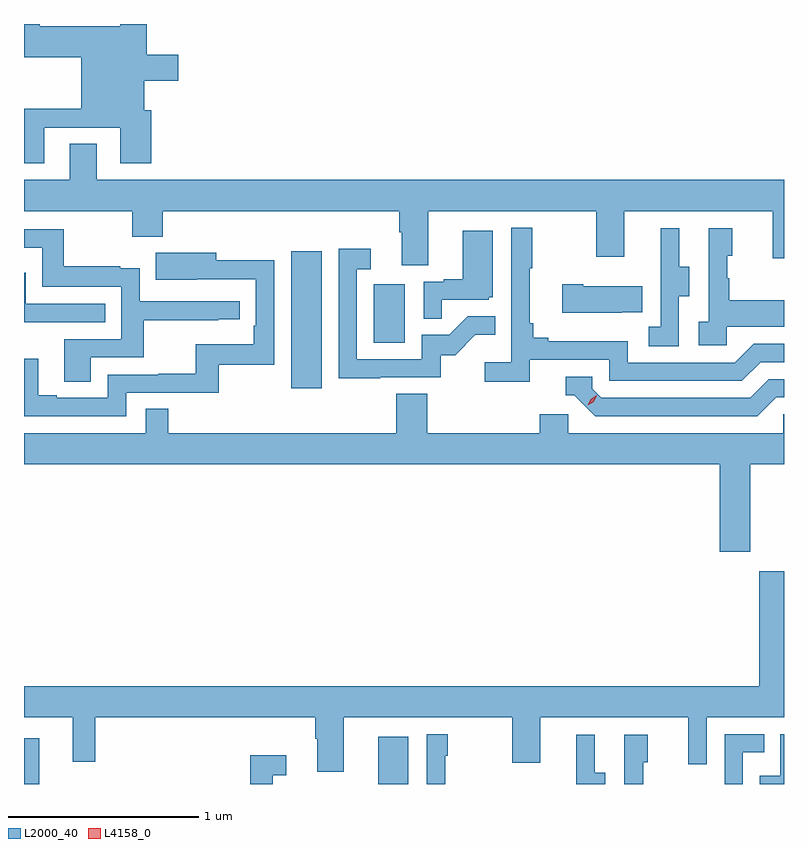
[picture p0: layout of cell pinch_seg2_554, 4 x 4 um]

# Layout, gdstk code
import gdstk
lib = gdstk.Library(unit=1e-6, precision=1e-09)
def R(c, l, rs):  # rectangles x0, y0, x1, y1
    for r in rs: c.add(gdstk.rectangle(r[:2], r[2:], *l))
def P(c, l, *ps):  # polygons
    for p in ps: c.add(gdstk.Polygon(p, *l))
L2000_40 = (2000, 40)
L4158_0 = (4158, 0)

pinch_seg2_554 = lib.new_cell('pinch_seg2_554')
R(pinch_seg2_554, L2000_40, [(1107.201,608.657,1107.28,608.899), (1109.066,608.657,1109.224,608.905), (1108.607,610.74,1108.768,611.461), (1109.042,610.98,1109.206,611.287)])
P(pinch_seg2_554, L2000_40, [(1107.307,612.111),(1107.707,612.111),(1107.707,611.925),(1107.872,611.925),(1107.872,612.204),(1107.835,612.204),(1107.835,612.359),(1108.012,612.359),(1108.012,612.494),(1107.848,612.494),(1107.848,612.657),(1107.707,612.657),(1107.707,612.646),(1107.283,612.646),(1107.283,612.657),(1107.201,612.657),(1107.201,612.482),(1107.503,612.482),(1107.503,612.212),(1107.201,612.212),(1107.201,611.925),(1107.307,611.925)],
  [(1107.443,612.026),(1107.443,611.836),(1107.201,611.836),(1107.201,611.672),(1107.772,611.672),(1107.772,611.537),(1107.932,611.537),(1107.932,611.672),(1109.177,611.672),(1109.177,611.56),(1109.189,611.56),(1109.189,611.386),(1109.329,611.386),(1109.329,611.672),(1110.214,611.672),(1110.214,611.433),(1110.361,611.433),(1110.361,611.672),(1111.142,611.672),(1111.142,611.424),(1111.201,611.424),(1111.201,611.836),(1107.583,611.836),(1107.583,612.026)],
  [(1109.864,610.89),(1110.282,610.89),(1110.282,610.779),(1110.979,610.779),(1111.078,610.878),(1111.201,610.878),(1111.201,610.974),(1111.041,610.974),(1110.942,610.875),(1110.378,610.875),(1110.378,610.987),(1109.959,610.987),(1109.959,611.006),(1109.882,611.006),(1109.882,611.083),(1109.863,611.083),(1109.863,611.371),(1109.875,611.371),(1109.875,611.584),(1109.766,611.584),(1109.766,610.876),(1109.625,610.876),(1109.625,610.774),(1109.864,610.774)],
  [(1110.9,611.063),(1111.201,611.063),(1111.201,611.203),(1110.913,611.203),(1110.913,611.318),(1110.903,611.318),(1110.903,611.436),(1110.928,611.436),(1110.928,611.581),(1110.804,611.581),(1110.804,611.09),(1110.753,611.09),(1110.753,610.965),(1110.9,610.965)],
  [(1110.648,611.224),(1110.703,611.224),(1110.703,611.379),(1110.649,611.379),(1110.649,611.581),(1110.551,611.581),(1110.551,611.367),(1110.552,611.367),(1110.552,611.063),(1110.489,611.063),(1110.489,610.96),(1110.648,610.96)],
  [(1107.553,610.902),(1107.83,610.902),(1107.83,611.098),(1108.223,611.098),(1108.223,611.103),(1108.336,611.103),(1108.336,611.199),(1107.81,611.199),(1107.81,611.371),(1107.707,611.371),(1107.707,611.383),(1107.409,611.383),(1107.409,611.577),(1107.201,611.577),(1107.201,611.48),(1107.298,611.48),(1107.298,611.274),(1107.714,611.274),(1107.714,610.998),(1107.413,610.998),(1107.413,610.774),(1107.553,610.774)],
  [(1109.399,611.205),(1109.646,611.205),(1109.646,611.22),(1109.668,611.22),(1109.668,611.569),(1109.51,611.569),(1109.51,611.314),(1109.411,611.314),(1109.411,611.301),(1109.304,611.301),(1109.304,611.107),(1109.399,611.107)],
  [(1109.075,610.797),(1109.394,610.797),(1109.394,610.914),(1109.47,610.914),(1109.577,611.021),(1109.681,611.021),(1109.681,611.12),(1109.537,611.12),(1109.439,611.022),(1109.295,611.022),(1109.295,610.893),(1108.953,610.893),(1108.953,611.367),(1109.026,611.367),(1109.026,611.473),(1108.857,611.473),(1108.857,610.792),(1109.075,610.792)],
  [(1107.738,610.716),(1108.225,610.716),(1108.225,610.863),(1108.518,610.863),(1108.518,611.414),(1108.213,611.414),(1108.213,611.452),(1107.895,611.452),(1107.895,611.312),(1108.109,611.312),(1108.109,611.313),(1108.422,611.313),(1108.422,611.068),(1108.409,611.068),(1108.409,610.972),(1108.104,610.972),(1108.104,610.817),(1107.907,610.817),(1107.907,610.812),(1107.642,610.812),(1107.642,610.689),(1107.373,610.689),(1107.373,610.702),(1107.277,610.702),(1107.277,610.895),(1107.201,610.895),(1107.201,610.593),(1107.738,610.593)],
  [(1107.629,611.184),(1107.21,611.184),(1107.21,611.347),(1107.201,611.347),(1107.201,611.088),(1107.629,611.088)],
  [(1110.347,611.141),(1110.455,611.141),(1110.455,611.278),(1110.145,611.278),(1110.145,611.286),(1110.033,611.286),(1110.033,611.138),(1110.347,611.138)],
  [(1111.159,610.692),(1111.201,610.692),(1111.201,610.788),(1111.122,610.788),(1111.023,610.689),(1110.24,610.689),(1110.192,610.737),(1110.192,610.8),(1110.053,610.8),(1110.053,610.704),(1110.096,610.704),(1110.207,610.593),(1111.06,610.593)],
  [(1111.023,610.34),(1111.201,610.34),(1111.201,610.602),(1111.197,610.602),(1111.197,610.504),(1110.066,610.504),(1110.066,610.602),(1109.915,610.602),(1109.915,610.504),(1109.324,610.504),(1109.324,610.712),(1109.159,610.712),(1109.159,610.504),(1107.959,610.504),(1107.959,610.631),(1107.843,610.631),(1107.843,610.504),(1107.201,610.504),(1107.201,610.34),(1110.863,610.34),(1110.863,609.879),(1111.023,609.879)],
  [(1108.885,609.008),(1109.77,609.008),(1109.77,608.769),(1109.917,608.769),(1109.917,609.008),(1110.698,609.008),(1110.698,608.76),(1110.795,608.76),(1110.795,609.008),(1111.201,609.008),(1111.201,609.778),(1111.07,609.778),(1111.07,609.172),(1107.201,609.172),(1107.201,609.008),(1107.458,609.008),(1107.458,608.775),(1107.575,608.775),(1107.575,609.008),(1108.733,609.008),(1108.733,608.896),(1108.745,608.896),(1108.745,608.722),(1108.885,608.722)],
  [(1109.418,608.807),(1109.431,608.807),(1109.431,608.92),(1109.322,608.92),(1109.322,608.657),(1109.418,608.657)],
  [(1111.201,608.919),(1111.182,608.919),(1111.182,608.7),(1111.074,608.7),(1111.074,608.657),(1111.201,608.657)],
  [(1110.984,608.823),(1111.097,608.823),(1111.097,608.919),(1110.888,608.919),(1110.888,608.657),(1110.984,608.657)],
  [(1110.459,608.772),(1110.484,608.772),(1110.484,608.917),(1110.36,608.917),(1110.36,608.657),(1110.459,608.657)],
  [(1110.259,608.715),(1110.205,608.715),(1110.205,608.917),(1110.107,608.917),(1110.107,608.703),(1110.108,608.703),(1110.108,608.657),(1110.259,608.657)],
  [(1108.509,608.703),(1108.582,608.703),(1108.582,608.809),(1108.393,608.809),(1108.393,608.657),(1108.509,608.657)])
P(pinch_seg2_554, L4158_0, [(1110.169,610.651),(1110.169,610.651),(1110.185,610.683),(1110.216,610.703),(1110.216,610.703),(1110.216,610.703),(1110.2,610.67),(1110.169,610.651)])

lib.write_gds('pinch_seg2_554.gds')
